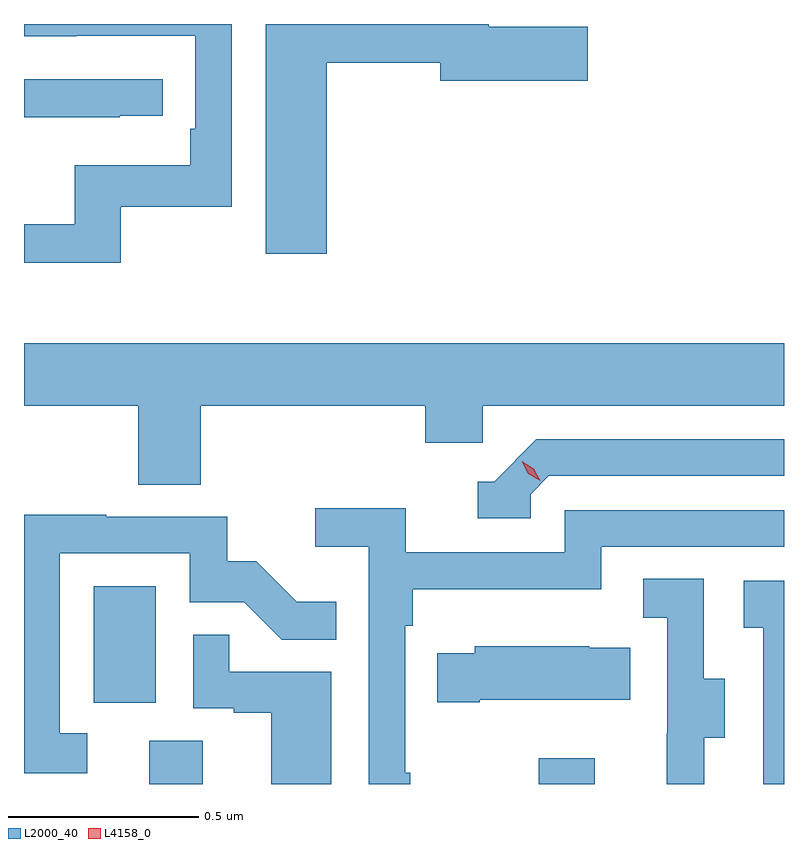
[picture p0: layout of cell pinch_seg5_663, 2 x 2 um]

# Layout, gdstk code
import gdstk
lib = gdstk.Library(unit=1e-6, precision=1e-09)
def R(c, l, rs):  # rectangles x0, y0, x1, y1
    for r in rs: c.add(gdstk.rectangle(r[:2], r[2:], *l))
def P(c, l, *ps):  # polygons
    for p in ps: c.add(gdstk.Polygon(p, *l))
L2000_40 = (2000, 40)
L4158_0 = (4158, 0)

pinch_seg5_663 = lib.new_cell('pinch_seg5_663')
R(pinch_seg5_663, L2000_40, [(1046.141,833.12,1046.281,833.234), (1047.166,833.12,1047.313,833.188), (1045.994,833.334,1046.158,833.641)])
P(pinch_seg5_663, L2000_40, [(1046.608,835.018),(1046.906,835.018),(1046.906,834.971),(1047.295,834.971),(1047.295,835.113),(1047.034,835.113),(1047.034,835.12),(1046.447,835.12),(1046.447,834.516),(1046.608,834.516)],
  [(1046.065,834.639),(1046.358,834.639),(1046.358,835.12),(1045.811,835.12),(1045.811,835.088),(1045.949,835.088),(1045.949,835.089),(1046.262,835.089),(1046.262,834.844),(1046.249,834.844),(1046.249,834.748),(1045.944,834.748),(1045.944,834.593),(1045.811,834.593),(1045.811,834.492),(1046.065,834.492)],
  [(1046.063,834.879),(1046.176,834.879),(1046.176,834.975),(1045.811,834.975),(1045.811,834.874),(1046.063,834.874)],
  [(1046.276,834.116),(1046.867,834.116),(1046.867,834.018),(1047.018,834.018),(1047.018,834.116),(1047.811,834.116),(1047.811,834.28),(1045.811,834.28),(1045.811,834.116),(1046.111,834.116),(1046.111,833.908),(1046.276,833.908)],
  [(1047.144,833.883),(1047.192,833.931),(1047.811,833.931),(1047.811,834.027),(1047.159,834.027),(1047.048,833.916),(1047.005,833.916),(1047.005,833.82),(1047.144,833.82)],
  [(1046.827,833.149),(1046.814,833.149),(1046.814,833.537),(1046.834,833.537),(1046.834,833.633),(1047.33,833.633),(1047.33,833.745),(1047.811,833.745),(1047.811,833.841),(1047.234,833.841),(1047.234,833.73),(1046.816,833.73),(1046.816,833.846),(1046.577,833.846),(1046.577,833.744),(1046.718,833.744),(1046.718,833.12),(1046.827,833.12)],
  [(1045.978,833.253),(1045.905,833.253),(1045.905,833.727),(1046.247,833.727),(1046.247,833.598),(1046.391,833.598),(1046.489,833.5),(1046.633,833.5),(1046.633,833.599),(1046.529,833.599),(1046.422,833.706),(1046.346,833.706),(1046.346,833.823),(1046.027,833.823),(1046.027,833.828),(1045.811,833.828),(1045.811,833.148),(1045.978,833.148)],
  [(1047.601,833.242),(1047.655,833.242),(1047.655,833.397),(1047.6,833.397),(1047.6,833.66),(1047.441,833.66),(1047.441,833.557),(1047.504,833.557),(1047.504,833.253),(1047.503,833.253),(1047.503,833.12),(1047.601,833.12)],
  [(1047.811,833.655),(1047.705,833.655),(1047.705,833.531),(1047.756,833.531),(1047.756,833.12),(1047.811,833.12)],
  [(1046.62,833.415),(1046.351,833.415),(1046.351,833.513),(1046.256,833.513),(1046.256,833.319),(1046.363,833.319),(1046.363,833.307),(1046.462,833.307),(1046.462,833.12),(1046.62,833.12)],
  [(1047.01,833.342),(1047.407,833.342),(1047.407,833.479),(1047.299,833.479),(1047.299,833.482),(1046.997,833.482),(1046.997,833.464),(1046.899,833.464),(1046.899,833.335),(1047.01,833.335)])
P(pinch_seg5_663, L4158_0, [(1047.169,833.918),(1047.138,833.937),(1047.121,833.969),(1047.121,833.97),(1047.121,833.97),(1047.152,833.95),(1047.169,833.918),(1047.169,833.918)])

lib.write_gds('pinch_seg5_663.gds')
